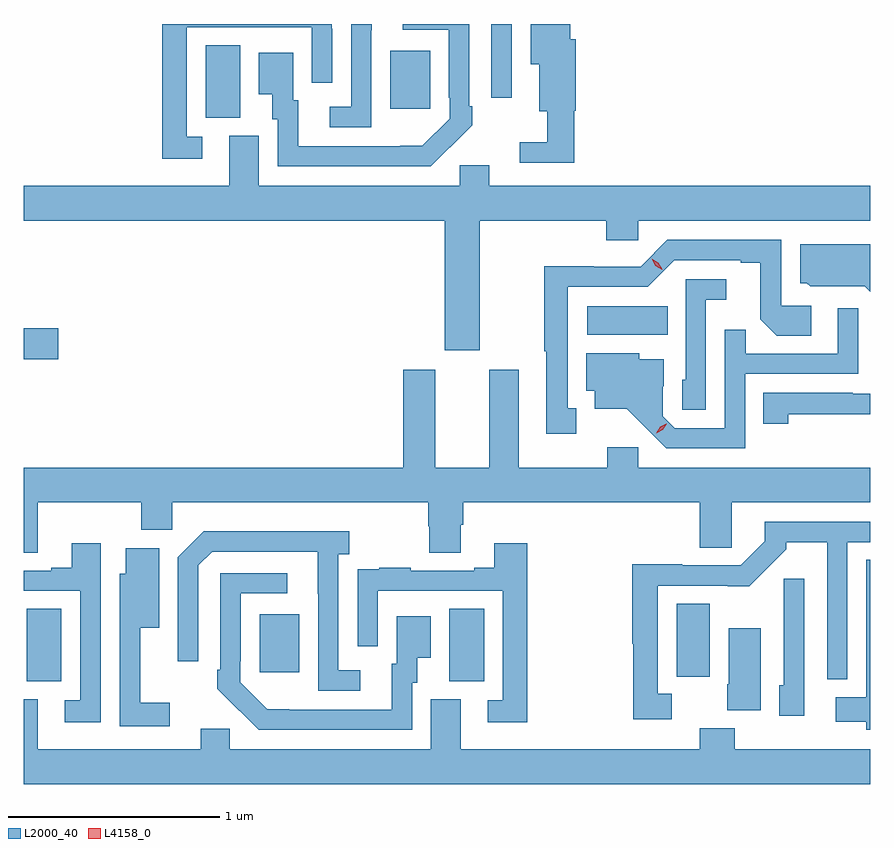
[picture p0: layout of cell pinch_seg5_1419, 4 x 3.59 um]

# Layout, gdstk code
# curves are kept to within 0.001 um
import gdstk
lib = gdstk.Library(unit=1e-6, precision=1e-09)
def R(c, l, rs):  # rectangles x0, y0, x1, y1
    for r in rs: c.add(gdstk.rectangle(r[:2], r[2:], *l))
def P(c, l, *ps):  # polygons
    for p in ps: c.add(gdstk.Polygon(p, *l))
L2000_40 = (2000, 40)
L4158_0 = (4158, 0)

pinch_seg5_1419 = lib.new_cell('pinch_seg5_1419')
R(pinch_seg5_1419, L2000_40, [(156.26,878.557,156.424,878.9), (158.258,878.557,158.422,878.9), (159.332,878.58,159.49,878.924), (157.361,878.601,157.549,878.875), (156.247,880.079,156.409,880.226), (158.91,880.196,159.29,880.33), (157.106,881.221,157.27,881.564), (157.979,881.265,158.167,881.539), (158.457,881.316,158.553,881.665)])
P(pinch_seg5_1419, L2000_40, [(158.261,881.083),(158.262,881.082),(158.367,881.187),(158.367,881.275),(158.352,881.275),(158.352,881.665),(158.037,881.665),(158.037,881.637),(158.256,881.637),(158.256,881.317),(158.259,881.317),(158.259,881.217),(158.131,881.089),(157.543,881.088),(157.543,881.304),(157.519,881.304),(157.519,881.53),(157.358,881.53),(157.358,881.333),(157.421,881.333),(157.421,881.214),(157.446,881.214),(157.446,880.992),(158.17,880.992)],
  [(158.849,881.256),(158.855,881.256),(158.855,881.592),(158.83,881.592),(158.83,881.665),(158.642,881.665),(158.642,881.474),(158.684,881.474),(158.684,881.252),(158.721,881.252),(158.721,881.107),(158.592,881.107),(158.592,881.01),(158.849,881.01)],
  [(157.89,881.635),(157.891,881.635),(157.891,881.665),(157.794,881.665),(157.794,881.274),(157.692,881.274),(157.692,881.178),(157.89,881.178)],
  [(157.09,881.133),(157.017,881.133),(157.017,881.649),(157.608,881.649),(157.608,881.388),(157.704,881.388),(157.704,881.642),(157.703,881.642),(157.703,881.665),(156.901,881.665),(156.901,881.028),(157.09,881.028)],
  [(158.401,880.736),(158.999,880.736),(158.999,880.643),(159.15,880.643),(159.15,880.736),(160.247,880.736),(160.247,880.9),(158.446,880.9),(158.446,880.998),(158.307,880.998),(158.307,880.9),(157.357,880.9),(157.357,881.136),(157.217,881.136),(157.217,880.9),(156.247,880.9),(156.247,880.736),(158.237,880.736),(158.237,880.122),(158.401,880.122)],
  [(158.857,879.849),(158.818,879.849),(158.818,880.422),(159.195,880.422),(159.321,880.548),(159.635,880.548),(159.635,880.536),(159.729,880.536),(159.729,880.268),(159.805,880.192),(159.97,880.192),(159.97,880.332),(159.828,880.332),(159.828,880.644),(159.288,880.644),(159.162,880.518),(158.94,880.518),(158.94,880.52),(158.707,880.52),(158.707,880.117),(158.717,880.117),(158.717,879.729),(158.857,879.729)],
  [(160.247,880.624),(159.917,880.624),(159.917,880.44),(159.948,880.44),(159.964,880.424),(160.098,880.424),(160.098,880.425),(160.221,880.425),(160.247,880.399)],
  [(159.471,880.361),(159.568,880.361),(159.568,880.458),(159.375,880.458),(159.375,879.984),(159.36,879.984),(159.36,879.841),(159.471,879.841)],
  [(159.657,880.011),(160.191,880.011),(160.191,880.321),(160.095,880.321),(160.095,880.107),(159.659,880.107),(159.659,880.22),(159.561,880.22),(159.561,879.753),(159.324,879.753),(159.267,879.81),(159.267,879.952),(159.271,879.952),(159.271,880.081),(159.156,880.081),(159.156,880.108),(158.906,880.108),(158.906,879.932),(158.945,879.932),(158.945,879.845),(159.097,879.845),(159.284,879.66),(159.657,879.66)],
  [(156.313,879.404),(156.802,879.404),(156.802,879.273),(156.948,879.273),(156.948,879.404),(158.159,879.404),(158.159,879.291),(158.164,879.291),(158.164,879.166),(158.311,879.166),(158.311,879.298),(158.324,879.298),(158.324,879.404),(159.443,879.404),(159.443,879.19),(159.594,879.19),(159.594,879.404),(160.247,879.404),(160.247,879.568),(159.15,879.568),(159.15,879.664),(159.004,879.664),(159.004,879.568),(158.587,879.568),(158.587,880.03),(158.447,880.03),(158.447,879.568),(158.191,879.568),(158.191,880.03),(158.039,880.03),(158.039,879.568),(156.247,879.568),(156.247,879.166),(156.313,879.166)],
  [(159.861,879.82),(160.217,879.82),(160.217,879.821),(160.247,879.821),(160.247,879.918),(160.166,879.918),(160.166,879.921),(159.742,879.921),(159.742,879.774),(159.861,879.774)],
  [(159.31,878.499),(159.243,878.499),(159.243,879.009),(159.676,879.008),(159.85,879.181),(159.85,879.215),(160.044,879.215),(160.044,878.567),(160.14,878.567),(160.14,879.216),(160.247,879.216),(160.247,879.312),(159.75,879.312),(159.75,879.219),(159.636,879.105),(159.359,879.105),(159.359,879.11),(159.123,879.11),(159.123,878.736),(159.127,878.736),(159.127,878.379),(159.31,878.379)],
  [(157.837,878.61),(157.734,878.61),(157.734,879.158),(157.786,879.158),(157.786,879.268),(157.098,879.268),(156.975,879.145),(156.975,878.652),(157.071,878.652),(157.071,879.105),(157.137,879.171),(157.637,879.171),(157.638,878.514),(157.837,878.514)],
  [(158.627,879.211),(158.471,879.211),(158.471,879.094),(158.375,879.094),(158.375,879.081),(158.075,879.081),(158.075,879.094),(157.927,879.094),(157.927,879.087),(157.825,879.087),(157.825,878.978),(157.824,878.978),(157.824,878.724),(157.92,878.724),(157.92,878.985),(158.511,878.985),(158.511,878.469),(158.439,878.469),(158.439,878.364),(158.627,878.364)],
  [(156.609,879.211),(156.473,879.211),(156.473,879.094),(156.377,879.094),(156.377,879.081),(156.247,879.081),(156.247,878.985),(156.513,878.985),(156.513,878.469),(156.441,878.469),(156.441,878.364),(156.609,878.364)],
  [(156.937,878.455),(156.797,878.455),(156.797,878.81),(156.886,878.81),(156.886,879.187),(156.728,879.187),(156.728,879.067),(156.699,879.067),(156.699,878.346),(156.937,878.346)],
  [(160.247,879.131),(160.23,879.131),(160.23,878.482),(160.086,878.482),(160.086,878.366),(160.23,878.366),(160.23,878.328),(160.247,878.328)],
  [(158.082,878.55),(158.107,878.55),(158.107,878.669),(158.17,878.669),(158.17,878.866),(158.009,878.866),(158.009,878.64),(157.985,878.64),(157.985,878.424),(157.398,878.425),(157.269,878.553),(157.269,878.653),(157.272,878.653),(157.272,878.973),(157.492,878.973),(157.492,879.069),(157.176,879.069),(157.176,878.611),(157.161,878.611),(157.161,878.523),(157.358,878.328),(158.082,878.328)],
  [(159.936,879.043),(159.84,879.043),(159.84,878.538),(159.818,878.538),(159.818,878.394),(159.936,878.394)],
  [(159.73,878.809),(159.578,878.809),(159.578,878.544),(159.572,878.544),(159.572,878.42),(159.73,878.42)],
  [(160.247,878.236),(159.608,878.236),(159.608,878.335),(159.443,878.335),(159.443,878.236),(158.311,878.236),(158.311,878.472),(158.171,878.472),(158.171,878.236),(157.221,878.236),(157.221,878.334),(157.082,878.334),(157.082,878.236),(156.313,878.236),(156.313,878.472),(156.247,878.472),(156.247,878.072),(160.247,878.072)])
P(pinch_seg5_1419, L4158_0, [(159.236,879.731),(159.236,879.731),(159.254,879.761),(159.284,879.776),(159.285,879.776),(159.285,879.776),(159.267,879.746),(159.236,879.731)],
  [(159.264,880.504),(159.232,880.523),(159.214,880.556),(159.214,880.556),(159.215,880.556),(159.246,880.537),(159.264,880.505),(159.264,880.504)])

lib.write_gds('pinch_seg5_1419.gds')
